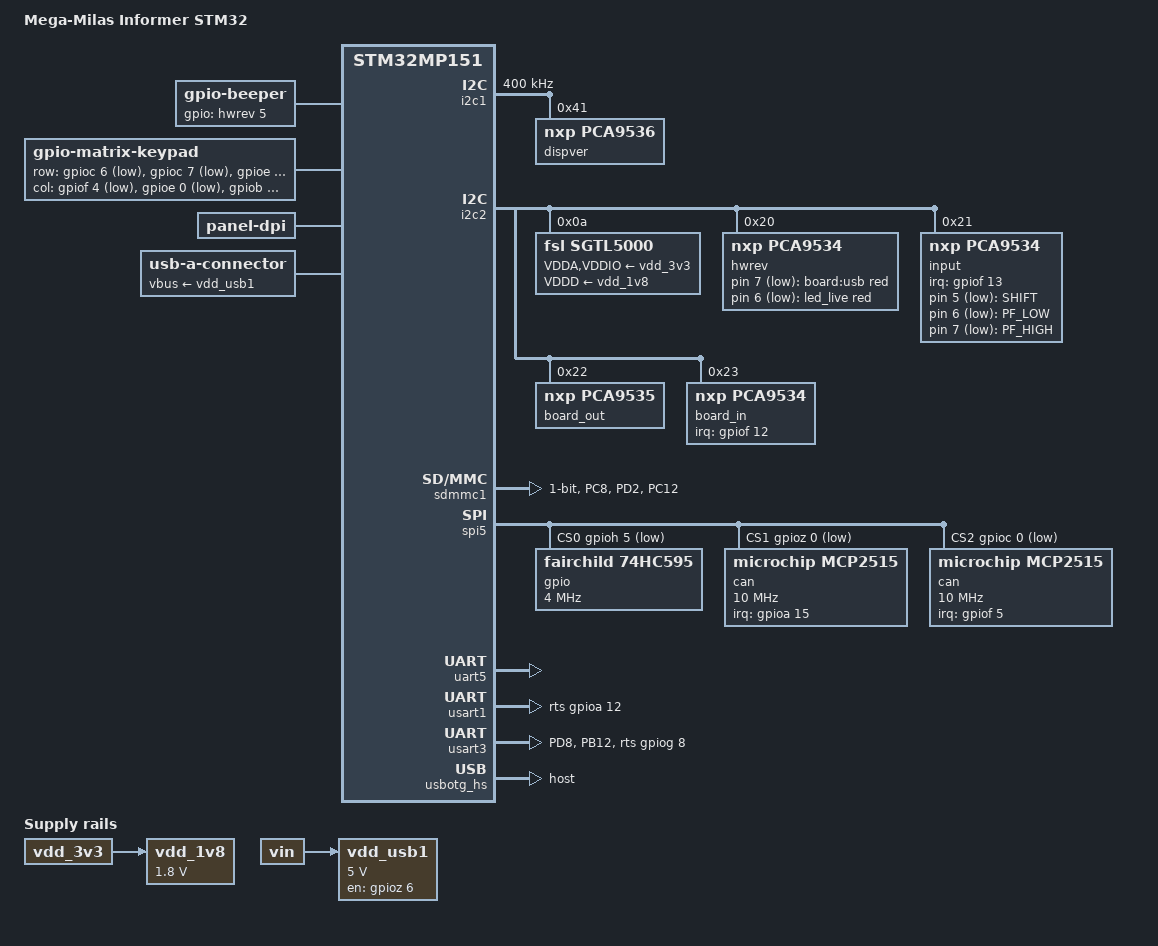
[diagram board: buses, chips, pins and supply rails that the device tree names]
#include "stm32mp151.dtsi"

#include <dt-bindings/input/input.h>

/*
 * GPIO EXTI IRQs
 * 0	pmic@33
 * 1	matrix-keypad row 2
 * 4	matrix-keypad row 3
 * 5	can@2
 * 6	matrix-keypad row 0
 * 7	matrix-keypad row 1
 * 10	TS IRQ (PF10)
 * 12	gpio@23
 * 13	gpio@21
 * 15	can@1
 */

/ {
	model = "Mega-Milas Informer STM32";
	compatible = "milas,informer-stm32", "myir,myd-ya151c-t", "st,stm32mp151";

	aliases {
		i2c0 = &i2c1;
		serial1 = &uart5;
		serial2 = &usart1;
		serial3 = &usart3;
	};

	beeper {
		compatible = "gpio-beeper";
		gpios = <&hwrev 5 GPIO_ACTIVE_HIGH>;
	};

	gpio-keys {
		compatible = "gpio-keys";

		/* 4 - SOUND_WORLD (Informer) */

		/* SHIFT/REVERSE (Informer) */
		key@5 {
			label = "SHIFT";
			linux,code = <SW_LID>;
			linux,input-type = <EV_SW>;
			gpios = <&input 5 GPIO_ACTIVE_LOW>;
		};

		key@6 {
			label = "PF_LOW";
			linux,code = <SW_TABLET_MODE>;
			linux,input-type = <EV_SW>;
			debounce-interval = <0>;
			gpios = <&input 6 GPIO_ACTIVE_LOW>;
		};

		key@7 {
			label = "PF_HIGH";
			linux,code = <SW_HEADPHONE_INSERT>;
			linux,input-type = <EV_SW>;
			debounce-interval = <0>;
			gpios = <&input 7 GPIO_ACTIVE_LOW>;
		};
	};

	matrix-keypad {
		compatible = "gpio-matrix-keypad";
		debounce-delay-ms = <10>;
		col-scan-delay-us = <50>;
		gpio-activelow;
		wakeup-source;

		row-gpios = <
			&gpioc 6 (GPIO_ACTIVE_LOW | GPIO_PULL_UP)
			&gpioc 7 (GPIO_ACTIVE_LOW | GPIO_PULL_UP)
			&gpioe 1 (GPIO_ACTIVE_LOW | GPIO_PULL_UP)
			&gpioe 4 (GPIO_ACTIVE_LOW | GPIO_PULL_UP)
		>;

		col-gpios = <
			&gpiof 4 (GPIO_ACTIVE_LOW | GPIO_PULL_UP)
			&gpioe 0 (GPIO_ACTIVE_LOW | GPIO_PULL_UP)
			&gpiob 6 (GPIO_ACTIVE_LOW | GPIO_PULL_UP)
			&gpioa 4 (GPIO_ACTIVE_LOW | GPIO_PULL_UP)
			&gpioa 6 (GPIO_ACTIVE_LOW | GPIO_PULL_UP)
			&gpiob 7 (GPIO_ACTIVE_LOW | GPIO_PULL_UP)
		>;

		linux,keymap = <
			MATRIX_KEY(0,0,0x0200)
			MATRIX_KEY(0,1,0x0201)
			MATRIX_KEY(0,2,0x0202)
			MATRIX_KEY(0,3,0x0203)
			MATRIX_KEY(0,4,0x0204)
			MATRIX_KEY(0,5,0x0205)
			MATRIX_KEY(1,0,0x0210)
			MATRIX_KEY(1,1,0x0211)
			MATRIX_KEY(1,2,0x0212)
			MATRIX_KEY(1,3,0x0213)
			MATRIX_KEY(1,4,0x0214)
			MATRIX_KEY(1,5,0x0215)
			MATRIX_KEY(2,0,0x0220)
			MATRIX_KEY(2,1,0x0221)
			MATRIX_KEY(2,2,0x0222)
			MATRIX_KEY(2,3,0x0223)
			MATRIX_KEY(2,4,0x0224)
			MATRIX_KEY(2,5,0x0225)
			MATRIX_KEY(3,0,0x0230)
			MATRIX_KEY(3,1,0x0231)
			MATRIX_KEY(3,2,0x0232)
			MATRIX_KEY(3,3,0x0233)
			MATRIX_KEY(3,4,0x0234)
			MATRIX_KEY(3,5,0x0235)
		>;
	};

	sound {
		compatible = "simple-audio-card";
		simple-audio-card,format = "i2s";
		simple-audio-card,bitclock-master = <&master_codec>;
		simple-audio-card,frame-master = <&master_codec>;
		simple-audio-card,name = "SAI1SGTL5000";

		simple-audio-card,cpu {
			sound-dai = <&sai1b>;
		};

		master_codec: simple-audio-card,codec {
			sound-dai = <&sgtl5000>;
		};
	};

	vdd_1v8: regulator-vdd-1v8 {
		compatible = "regulator-fixed";
		regulator-name = "vdd-1v8";
		regulator-min-microvolt = <1800000>;
		regulator-max-microvolt = <1800000>;
		regulator-always-on;
		regulator-boot-on;
		vin-supply = <&vdd_3v3>;
	};

	vdd_usb1: regulator-vdd-usb1 {
		compatible = "regulator-fixed";
		regulator-name = "vdd_usb1";
		regulator-min-microvolt = <5000000>;
		regulator-max-microvolt = <5000000>;
		gpio = <&gpioz 6 GPIO_ACTIVE_HIGH>;
		enable-active-high;
		vin-supply = <&vin>;
	};
};

&backlight {
	pwms = <&pwm2 3 100000 0>;
	num-interpolated-steps = <16>;
	default-brightness-level = <0>;
};

&i2c1 {
	pinctrl-names = "default", "sleep";
	pinctrl-0 = <&i2c1_pins_b>;
	pinctrl-1 = <&i2c1_sleep_pins_b>;
	clock-frequency = <400000>;
	status = "okay";

	pwm@2c {
		compatible = "intersil,isl97671a";
		reg = <0x2c>;
	};

	dispver: gpio@41 {
		compatible = "nxp,pca9536";
		reg = <0x41>;
		gpio-controller;
		
		#gpio-cells = <2>;
	};
};

&i2c2 {
	/delete-node/ gpio@20;
	/delete-node/ usb@28;
	/delete-node/ rtc@32;

	sgtl5000: audio-codec@a {
		pinctrl-names = "default";
		pinctrl-0 = <&mco2_pins>;
		compatible = "fsl,sgtl5000";
		reg =<0xa>;
		clocks = <&rcc CK_MCO2>;
		micbias-resistor-k-ohms = <0>;
		VDDA-supply = <&vdd_3v3>;
		VDDIO-supply = <&vdd_3v3>;
		VDDD-supply = <&vdd_1v8>;

		#sound-dai-cells = <0>;
	};

	hwrev: gpio@20 {
		compatible = "nxp,pca9534";
		reg = <0x20>;
		gpio-controller;

		#gpio-cells = <2>;
	};

	input: gpio@21 {
		pinctrl-names = "default";
		pinctrl-0 = <&pca9534_0_pins>;
		compatible = "nxp,pca9534";
		reg = <0x21>;
		gpio-controller;
		interrupt-parent = <&gpiof>;
		interrupts = <13 IRQ_TYPE_EDGE_BOTH>;
		interrupt-controller;

		#gpio-cells = <2>;
		#interrupt-cells = <2>;
	};

	board_out: gpio@22 {
		compatible = "nxp,pca9535";
		reg = <0x22>;
		gpio-controller;

		#gpio-cells = <2>;
	};

	board_in: gpio@23 {
		pinctrl-names = "default";
		pinctrl-0 = <&pca9534_1_pins>;
		compatible = "nxp,pca9534";
		reg = <0x23>;
		gpio-controller;
		interrupt-parent = <&gpiof>;
		interrupts = <12 IRQ_TYPE_EDGE_BOTH>;
		interrupt-controller;

		#gpio-cells = <2>;
		#interrupt-cells = <2>;
	};
};

&leds {
	usb-led {
		label = "board:usb";
		gpios = <&hwrev 7 GPIO_ACTIVE_LOW>;
		color = <LED_COLOR_ID_RED>;
		default-state = "off";
		function = LED_FUNCTION_USB;
		linux,default-trigger = "usb-host";
	};
};

&led_live {
	color = <LED_COLOR_ID_RED>;
	gpios = <&hwrev 6 GPIO_ACTIVE_LOW>;
};

&nand_parts {
	/delete-node/ partition@1200000;

	partition@1200000 {
		label = "env";
		reg = <0x1200000 0x80000>;
	};

	partition@1280000 {
		label = "system";
		reg = <0x01280000 0>;
	};
};

&panel {
	compatible = "panel-dpi";
	height-mm = <0>;
	width-mm = <0>;

	panel-timing {
		/* PH320240T */
		clock-frequency = <6400000>;
		hactive = <320>;
		vactive = <240>;
		hback-porch = <38>;
		hfront-porch = <20>;
		hsync-len = <30>;
		vback-porch = <15>;
		vfront-porch = <5>;
		vsync-len = <1 3 5>;
		hsync-active = <0>;
		vsync-active = <0>;
		de-active = <1>;
	};
};

&pmic {
	/delete-node/ onkey;
};

&rcc {
	assigned-clocks = <&rcc CK_MCO1>, <&rcc CK_MCO2>;
	assigned-clock-rates = <16000000>, <24000000>;
	assigned-clock-parents = <&rcc CK_HSI>, <&rcc CK_HSE>;
};

&sdmmc1 {
	/delete-property/ pinctrl-1;
	/delete-property/ pinctrl-2;
	/delete-property/ cd-gpios;
	pinctrl-names = "default";
	pinctrl-0 = <&sdmmc1_pins>;
	bus-width = <1>;
};

&spi5 {
	cs-gpios = <&gpioh 5 (GPIO_ACTIVE_LOW | GPIO_PULL_UP)>,
		   <&gpioz 0 (GPIO_ACTIVE_LOW | GPIO_PULL_UP)>,
		   <&gpioc 0 (GPIO_ACTIVE_LOW | GPIO_PULL_UP)>;

	gpio@0 {
		compatible = "fairchild,74hc595";
		reg = <0>;
		spi-max-frequency = <4000000>;
		registers-number = <2>;
		gpio-controller;
		#gpio-cells = <2>;
	};

	can@1 {
		pinctrl-names = "default";
		pinctrl-0 = <&mcp2515_0_pins>;
		compatible = "microchip,mcp2515";
		reg = <1>;
		spi-max-frequency = <10000000>;
		clocks = <&rcc CK_MCO1>;
		interrupt-parent = <&gpioa>;
		interrupts = <15 IRQ_TYPE_EDGE_FALLING>;
	};

	can@2 {
		pinctrl-names = "default";
		pinctrl-0 = <&mcp2515_1_pins>;
		compatible = "microchip,mcp2515";
		reg = <2>;
		spi-max-frequency = <10000000>;
		clocks = <&rcc CK_MCO1>;
		interrupt-parent = <&gpiof>;
		interrupts = <5 IRQ_TYPE_EDGE_FALLING>;
	};
};

&uart5 {
	pinctrl-names = "default";
	pinctrl-0 = <&uart5_pins_a>;
	status = "okay";
};

&usart1 {
	pinctrl-names = "default";
	pinctrl-0 = <&usart1_pins_z>;
	rts-gpios = <&gpioa 12 (GPIO_ACTIVE_HIGH | GPIO_PUSH_PULL)>;
	linux,rs485-enabled-at-boot-time;
	status = "okay";
};

&usart3 {
	pinctrl-names = "default";
	pinctrl-0 = <&usart3_pins>;
	rts-gpios = <&gpiog 8 (GPIO_ACTIVE_HIGH | GPIO_PUSH_PULL)>;
	linux,rs485-enabled-at-boot-time;
	status = "okay";
};

&usbh_ehci {
	status = "disabled";
};

&usbotg_hs {
	/delete-property/ usb-role-switch;

	pinctrl-names = "default";
	pinctrl-0 = <&usbotg_hs_pins_a>;
	dr_mode = "host";

	port {
		/delete-node/ endpoint;
	};
};

&usbphyc_port1 {
	connector {
		compatible = "usb-a-connector";
		vbus-supply = <&vdd_usb1>;
	};
};

&pinctrl {
	pinctrl-names = "default";
	pinctrl-0 = <&mco1_pins &ts_pins>;

	ltdc_pins: ltdc-0 {
		pins {
			pinmux = <STM32_PINMUX('G',  7, AF14)>,		/* LCD_CLK */
				 <STM32_PINMUX('I', 10, AF14)>,		/* LCD_HSYNC */
				 <STM32_PINMUX('I',  9, AF14)>,		/* LCD_VSYNC */
				 <STM32_PINMUX('E', 13, AF14)>,		/* LCD_DE */
				 <STM32_PINMUX('H',  9, AF14)>,		/* LCD_R3 */
				 <STM32_PINMUX('H', 10, AF14)>,		/* LCD_R4 */
				 <STM32_PINMUX('H', 11, AF14)>,		/* LCD_R5 */
				 <STM32_PINMUX('H', 12, AF14)>,		/* LCD_R6 */
				 <STM32_PINMUX('E', 15, AF14)>,		/* LCD_R7 */
				 <STM32_PINMUX('H', 13, AF14)>,		/* LCD_G2 */
				 <STM32_PINMUX('H', 14, AF14)>,		/* LCD_G3 */
				 <STM32_PINMUX('H', 15, AF14)>,		/* LCD_G4 */
				 <STM32_PINMUX('I',  0, AF14)>,		/* LCD_G5 */
				 <STM32_PINMUX('I',  1, AF14)>,		/* LCD_G6 */
				 <STM32_PINMUX('I',  2, AF14)>,		/* LCD_G7 */
				 <STM32_PINMUX('D', 10, AF14)>,		/* LCD_B3 */
				 <STM32_PINMUX('I',  4, AF14)>,		/* LCD_B4 */
				 <STM32_PINMUX('I',  5, AF14)>,		/* LCD_B5 */
				 <STM32_PINMUX('I',  6, AF14)>,		/* LCD_B6 */
				 <STM32_PINMUX('I',  7, AF14)>;		/* LCD_B7 */
			bias-disable;
			drive-push-pull;
			slew-rate = <1>;
		};
	};

	ltdc_sleep_pins: ltdc-sleep-0 {
		pins {
			pinmux = <STM32_PINMUX('G',  7, ANALOG)>,	/* LCD_CLK */
				 <STM32_PINMUX('I', 10, ANALOG)>,	/* LCD_HSYNC */
				 <STM32_PINMUX('I',  9, ANALOG)>,	/* LCD_VSYNC */
				 <STM32_PINMUX('E', 13, ANALOG)>,	/* LCD_DE */
				 <STM32_PINMUX('H',  9, ANALOG)>,	/* LCD_R3 */
				 <STM32_PINMUX('H', 10, ANALOG)>,	/* LCD_R4 */
				 <STM32_PINMUX('H', 11, ANALOG)>,	/* LCD_R5 */
				 <STM32_PINMUX('H', 12, ANALOG)>,	/* LCD_R6 */
				 <STM32_PINMUX('E', 15, ANALOG)>,	/* LCD_R7 */
				 <STM32_PINMUX('H', 13, ANALOG)>,	/* LCD_G2 */
				 <STM32_PINMUX('H', 14, ANALOG)>,	/* LCD_G3 */
				 <STM32_PINMUX('H', 15, ANALOG)>,	/* LCD_G4 */
				 <STM32_PINMUX('I',  0, ANALOG)>,	/* LCD_G5 */
				 <STM32_PINMUX('I',  1, ANALOG)>,	/* LCD_G6 */
				 <STM32_PINMUX('I',  2, ANALOG)>,	/* LCD_G7 */
				 <STM32_PINMUX('D', 10, ANALOG)>,	/* LCD_B3 */
				 <STM32_PINMUX('I',  4, ANALOG)>,	/* LCD_B4 */
				 <STM32_PINMUX('I',  5, ANALOG)>,	/* LCD_B5 */
				 <STM32_PINMUX('I',  6, ANALOG)>,	/* LCD_B6 */
				 <STM32_PINMUX('I',  7, ANALOG)>;	/* LCD_B7 */
		};
	};

	mco1_pins: mco1-0 {
		pins {
			pinmux = <STM32_PINMUX('I', 11, AF0)>;		/* MCO1 */
			bias-disable;
			drive-push-pull;
			slew-rate = <2>;
		};
	};

	mco2_pins: mco2-0 {
		pins {
			pinmux = <STM32_PINMUX('C', 12, AF1)>;		/* MCO2 */
			bias-disable;
			drive-push-pull;
			slew-rate = <2>;
		};
	};

	mcp2515_0_pins: mcp2515-0 {
		pins {
			pinmux = <STM32_PINMUX('A', 15, ANALOG)>;	/* MCP2515 CS1 IRQ */
			bias-pull-up;
		};
	};

	mcp2515_1_pins: mcp2515-1 {
		pins {
			pinmux = <STM32_PINMUX('F', 5, ANALOG)>;	/* MCP2515 CS2 IRQ */
			bias-pull-up;
		};
	};

	pca9534_0_pins: pca9534-0 {
		pins {
			pinmux = <STM32_PINMUX('F', 13, ANALOG)>;	/* PCA9534@21 IRQ */
			bias-pull-up;
		};
	};

	pca9534_1_pins: pca9534-1 {
		pins {
			pinmux = <STM32_PINMUX('F', 12, ANALOG)>;	/* PCA9534@23 IRQ */
			bias-pull-up;
		};
	};

	sdmmc1_pins: sdmmc1-0 {
		pins1 {
			pinmux = <STM32_PINMUX('C', 8, AF12)>,		/* SDMMC1_D0 */
				 <STM32_PINMUX('D', 2, AF12)>;		/* SDMMC1_CMD */
			bias-disable;
			drive-push-pull;
			slew-rate = <1>;
		};
		pins2 {
			pinmux = <STM32_PINMUX('C', 12, AF12)>;		/* SDMMC1_CK */
			bias-disable;
			drive-push-pull;
			slew-rate = <2>;
		};
	};

	tim2_pwm_pins: tim2-pwm-0 {
		pins {
			pinmux = <STM32_PINMUX('A', 3, AF1)>;		/* TIM2_CH4 */
			bias-disable;
			drive-push-pull;
			slew-rate = <0>;
		};
	};

	tim2_pwm_sleep_pins: tim2-pwm-sleep-0 {
		pins {
			pinmux = <STM32_PINMUX('A', 3, ANALOG)>;	/* TIM2_CH4 */
		};
	};

	ts_pins: ts-0 {
		pins {
			pinmux = <STM32_PINMUX('F', 10, ANALOG)>;	/* TS IRQ */
		};
	};

	usart3_pins: usart3-0 {
		pins1 {
			pinmux = <STM32_PINMUX('D', 8, AF7)>;		/* USART3_TX */
			bias-disable;
			drive-push-pull;
			slew-rate = <0>;
		};
		pins2 {
			pinmux = <STM32_PINMUX('B', 12, AF8)>;		/* USART3_RX */
			bias-disable;
		};
	};
};

&pinctrl_z {
	usart1_pins_z: usart1-0 {
		pins1 {
			pinmux = <STM32_PINMUX('Z', 2, AF7)>;		/* USART1_TX */
			bias-disable;
			drive-push-pull;
			slew-rate = <0>;
		};
		pins2 {
			pinmux = <STM32_PINMUX('Z', 1, AF7)>;		/* USART1_RX */
			bias-disable;
		};
	};
};
